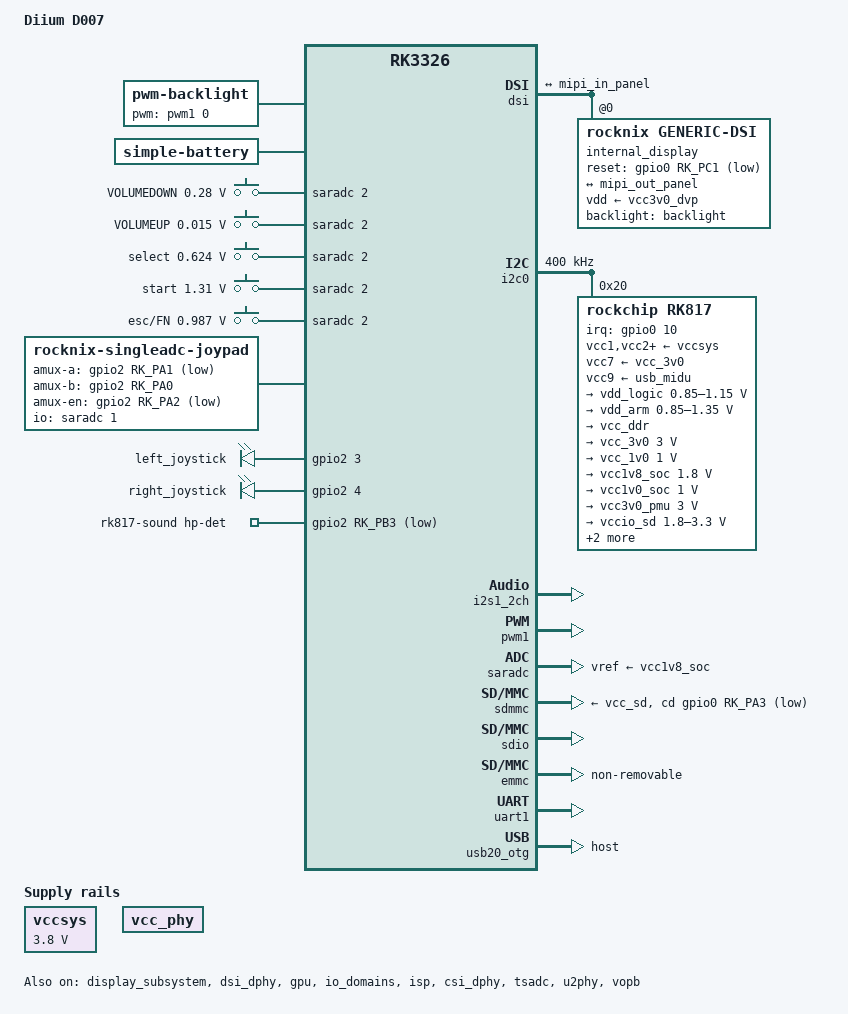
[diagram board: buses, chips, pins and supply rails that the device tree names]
// SPDX-License-Identifier: (GPL-2.0+ OR MIT)
/*
 * Copyright (c) 2019 Hardkernel Co., Ltd
 * Copyright (c) 2020 Theobroma Systems Design und Consulting GmbH
 * Copyright (c) 2022 Maya Matuszczyk <maccraft123mc@gmail.com>
 */

/dts-v1/;
#include <dt-bindings/gpio/gpio.h>
#include <dt-bindings/input/input.h>
#include <dt-bindings/leds/common.h>
#include <dt-bindings/pinctrl/rockchip.h>
#include "rk3326.dtsi"

/ {
    model = "Diium D007";
    compatible = "diium,d007", "rockchip,rk3326";
     
    aliases {
        mmc0 = &sdmmc;
		mmc1 = &emmc;
		mmc2 = &sdio;
    };

	chosen {
		systemd.debug_shell = "ttyS0";
	};

    backlight: backlight {
       compatible = "pwm-backlight";
       pwms = <&pwm1 0 25000 0>;
       brightness-levels = <
         0   1   2   3   4   5   6   7
         8   9  10  11  12  13  14  15
        16  17  18  19  20  21  22  23
        24  25  26  27  28  29  30  31
        32  33  34  35  36  37  38  39
        40  41  42  43  44  45  46  47
        48  49  50  51  52  53  54  55
        56  57  58  59  60  61  62  63
        64  65  66  67  68  69  70  71
        72  73  74  75  76  77  78  79
        80  81  82  83  84  85  86  87
        88  89  90  91  92  93  94  95
        96  97  98  99 100 101 102 103
       104 105 106 107 108 109 110 111
       112 113 114 115 116 117 118 119
       120 121 122 123 124 125 126 127
       128 129 130 131 132 133 134 135
       136 137 138 139 140 141 142 143
       144 145 146 147 148 149 150 151
       152 153 154 155 156 157 158 159
       160 161 162 163 164 165 166 167
       168 169 170 171 172 173 174 175
       176 177 178 179 180 181 182 183
       184 185 186 187 188 189 190 191
       192 193 194 195 196 197 198 199
       200 201 202 203 204 205 206 207
       208 209 210 211 212 213 214 215
       216 217 218 219 220 221 222 223
       224 225 226 227 228 229 230 231
       232 233 234 235 236 237 238 239
       240 241 242 243 244 245 246 247
       248 249 250 251 252 253 254 255>;
       default-brightness-level = <128>;
    };

    battery: battery {
        compatible = "simple-battery";
        charge-full-design-microamp-hours = <3000000>;
        charge-term-current-microamp = <200000>;
        constant-charge-current-max-microamp = <1500000>;
        constant-charge-voltage-max-microvolt = <4200000>;
        factory-internal-resistance-micro-ohms = <100000>;
        voltage-max-design-microvolt = <4100000>;
        voltage-min-design-microvolt = <3300000>;

        ocv-capacity-celsius = <20>;
        ocv-capacity-table-0 =  
            <4046950 100>, <4001920 95>, <3967900 90>, <3940000 85>,
            <3910000 80>, <3870000 75>, <3830000 70>, <3790000 65>,
            <3750000 60>, <3720000 55>, <3690000 50>, <3650000 45>,
            <3610000 40>, <3570000 35>, <3540000 30>, <3500000 25>,
            <3460000 20>, <3420000 15>, <3380000 10>, <3340000 5>,
            <3300000 0>;
    };

	adc_keys: adc-keys {
		compatible = "adc-keys";
		io-channels = <&saradc 2>;
		io-channel-names = "buttons";
		keyup-threshold-microvolt = <1800000>;
		poll-interval = <60>;

		vol-down-key {
		           label = "VOLUMEDOWN";
		           linux,code = <KEY_VOLUMEDOWN>;
			press-threshold-microvolt = <280000>;
		};

		vol-up-key {
		           label = "VOLUMEUP";
		           linux,code = <KEY_VOLUMEUP>;
			press-threshold-microvolt = <15000>;
		};
		select-key {
		           label = "select";
		           linux,code = <KEY_RIGHTSHIFT>;
			press-threshold-microvolt = <624000>;
		};

		start-key {
		           label = "start";
		           linux,code = <KEY_ENTER>;
			press-threshold-microvolt = <1310000>;//<987000>;
		};

		fn-key {
		           label = "esc/FN";
		           linux,code = <KEY_ESC>;
			press-threshold-microvolt = <987000>;//<1310000>;
		};
	};

	joypad: rocknix-singleadc-joypad {
		compatible = "rocknix-singleadc-joypad";

		joypad-name = "retrogame_joypad";
		joypad-product = <0x1101>;
		joypad-revision = <0x0100>;
		joypad-vendor = <0x484B>;

		status = "okay";

		/* gpio pincontrol setup */
                pinctrl-names = "default";
                pinctrl-0 = <&btn_pins_ctrl>;

		/* Analog mux define */
		io-channel-names = "amux_adc";
		io-channels = <&saradc 1>;

		/* adc mux channel count */
		amux-count = <4>;
		amux-channel-mapping = <0 1 2 3>;
		/* adc mux select(a,b) gpio */
		amux-a-gpios = <&gpio2 RK_PA1 GPIO_ACTIVE_LOW>;
		amux-b-gpios = <&gpio2 RK_PA0 GPIO_ACTIVE_HIGH>;
		/* adc mux enable gpio */
		amux-en-gpios = <&gpio2 RK_PA2 GPIO_ACTIVE_LOW>;

		/* adc calculate scale */
		button-adc-scale = <2>;

		/* adc deadzone range  */
		button-adc-deadzone = <64>;

		/*
		  specifies fuzz value that is used to filter noise from
		  the event stream.
		*/
		button-adc-fuzz = <32>;
		button-adc-flat = <32>;

		/*
		  Analog Stick data tuning value(precent)
		  p = positive direction, n = negative direction
		  report value = (real_adc_data * tuning_value) / 100
		*/
		abs_x-p-tuning = <200>;
		abs_x-n-tuning = <800>;

		abs_y-p-tuning = <200>;
		abs_y-n-tuning = <800>;

		abs_rx-p-tuning = <800>;
		abs_rx-n-tuning = <1000>;

		abs_ry-p-tuning = <800>;
		abs_ry-n-tuning = <1400>;

		/* poll device interval (ms), adc read interval */
		poll-interval = <10>;
      
        /* gpio button auto repeat set value : default disable */
        /*
        autorepeat;
        */

		sw1 {
			gpios = <&gpio3 RK_PD1 GPIO_ACTIVE_LOW>;
			label = "GPIO DPAD-UP";
			linux,code = <BTN_DPAD_UP>;
		};
		sw2 {
			gpios = <&gpio3 RK_PD2 GPIO_ACTIVE_LOW>;
			label = "GPIO DPAD-DOWN";
			linux,code = <BTN_DPAD_DOWN>;
		};
		sw3 {
			gpios = <&gpio3 RK_PB5 GPIO_ACTIVE_LOW>;
			label = "GPIO DPAD-LEFT";
			linux,code = <BTN_DPAD_LEFT>;
		};
		sw4 {
			gpios = <&gpio3 RK_PD0 GPIO_ACTIVE_LOW>;
			label = "GPIO DPAD-RIGHT";
			linux,code = <BTN_DPAD_RIGHT>;
		};
		sw5 {
			gpios = <&gpio3 RK_PC4 GPIO_ACTIVE_LOW>;
			label = "GPIO BTN-A";
			linux,code = <BTN_EAST>;
		};
		sw6 {
			gpios = <&gpio3 RK_PC5 GPIO_ACTIVE_LOW> ;
			label = "GPIO BTN-B";
			linux,code = <BTN_SOUTH>;
		};
		sw7 {
			gpios = <&gpio3 RK_PB3 GPIO_ACTIVE_LOW>;
			label = "GPIO BTN-Y";
			linux,code = <BTN_WEST>;
		};
		sw8 {
			gpios = <&gpio3 RK_PB2 GPIO_ACTIVE_LOW>;
			label = "GPIO BTN-X";
			linux,code = <BTN_NORTH>;
		};
		sw9 {
			gpios = <&gpio3 RK_PB4 GPIO_ACTIVE_LOW>;
			label = "GPIO F2";
			linux,code = <BTN_MODE>;//<BTN_TRIGGER_HAPPY2>;
		};
		sw10 {
			gpios = <&gpio0 RK_PC2 GPIO_ACTIVE_LOW>;
			label = "GPIO F4";
			linux,code = <BTN_SELECT>;//<BTN_TRIGGER_HAPPY4>;
		};
		/* this sw11 entry is SPECIAL, most RK3566 devices do not have
		   this physical button but for the sake of keeping compatibility
		   with ES and retroarch, this phantom button and offset will
		   allow existing userspace programs to work without doing any
		   new remapping thus saving lots of headaches and extra work */
		sw11 {
			gpios = <&gpio3 RK_PA7 GPIO_ACTIVE_LOW>;
			label = "GPIO BTN_F3";
			linux,code = <BTN_START>;//<BTN_TRIGGER_HAPPY1>;
		};
		sw12 {
			gpios = <&gpio2 RK_PB1 GPIO_ACTIVE_LOW>;
			label = "BTN_THUMBL";
			linux,code = <BTN_THUMBL>;
		};
		sw13 {
			gpios = <&gpio2 RK_PB2 GPIO_ACTIVE_LOW>;
			label = "BTN_THUMBR";
			linux,code = <BTN_THUMBR>;
		};
		sw14 {
			gpios = <&gpio3 RK_PC1 GPIO_ACTIVE_LOW>;
			label = "GPIO BTN_TR";
			linux,code = <BTN_TR>;
		};
		sw15 {
			gpios = <&gpio3 RK_PC0 GPIO_ACTIVE_LOW>;
			label = "GPIO BTN_TR2";
			linux,code = <BTN_TR2>;
		};
		sw16 {
			gpios = <&gpio3 RK_PC3 GPIO_ACTIVE_LOW>;
			label = "GPIO BTN_TL";
			linux,code = <BTN_TL>;
		};
		sw17 {
			gpios = <&gpio3 RK_PC2 GPIO_ACTIVE_LOW>;
			label = "GPIO BTN_TL2";
			linux,code = <BTN_TL2>;
		};
	};


    leds: gpio-leds {
         compatible = "gpio-leds";
         pinctrl-0 = <&led_pins>;
         pinctrl-names = "default";

		left_joystick {
			default-state = "off";
			gpios = <&gpio2 3 GPIO_ACTIVE_HIGH>;
		};

		right_joystick  {
			default-state = "off";
			gpios = <&gpio2 4 GPIO_ACTIVE_HIGH>;
		};
    };


    rk817-sound {
       compatible = "simple-audio-card";
       pinctrl-names = "default";
       pinctrl-0 = <&hp_det>;
       simple-audio-card,name = "rk817_int";
       simple-audio-card,format = "i2s";
       simple-audio-card,hp-det-gpio = <&gpio2 RK_PB3 GPIO_ACTIVE_LOW>;
       simple-audio-card,mclk-fs = <256>;
       simple-audio-card,widgets =
           "Microphone", "Mic Jack",
           "Headphone", "Headphones",
           "Speaker", "Speaker";
       simple-audio-card,routing =
           "MICL", "Mic Jack",
           "Headphones", "HPOL",
           "Headphones", "HPOR",
           "Speaker", "SPKO";

       simple-audio-card,codec {
           sound-dai = <&rk817>;
       };

       simple-audio-card,cpu {
           sound-dai = <&i2s1_2ch>;
       };
    };

    vccsys: vccsys {
       compatible = "regulator-fixed";
       regulator-name = "vcc3v8_sys";
       regulator-always-on;
       regulator-min-microvolt = <3800000>;
       regulator-max-microvolt = <3800000>;
    };

	vcc-phy-regulator {
		compatible = "regulator-fixed";
		regulator-name = "vcc_phy";
		regulator-always-on;
		regulator-boot-on;
	};

    
    // vcc_host: vcc_host {
    //     compatible = "regulator-fixed";
    //     regulator-name = "vcc_host";
    //     regulator-min-microvolt = <5000000>;
    //     regulator-max-microvolt = <5000000>;
    //     gpio = <&gpio3 RK_PA4 GPIO_ACTIVE_HIGH>;
	// pinctrl-0 = <&vcc5_usb>;
	// pinctrl-names = "default";
    //     enable-active-high;
    //     regulator-always-on;
    //     regulator-boot-on;
    //     vin-supply = <&usb_midu>;
    // };
};

&dmc {
    center-supply = <&vdd_logic>;
};

&cpu0 {
    cpu-supply = <&vdd_arm>;
};

&cpu1 {
    cpu-supply = <&vdd_arm>;
};

&cpu2 {
    cpu-supply = <&vdd_arm>;
};

&cpu3 {
    cpu-supply = <&vdd_arm>;
};

&cru {
    assigned-clocks = <&cru PLL_NPLL>,
        <&cru ACLK_BUS_PRE>, <&cru ACLK_PERI_PRE>,
        <&cru HCLK_BUS_PRE>, <&cru HCLK_PERI_PRE>,
        <&cru PCLK_BUS_PRE>, <&cru SCLK_GPU>;

    assigned-clock-rates = <1188000000>,
        <200000000>, <200000000>,
        <150000000>, <150000000>,
        <100000000>, <200000000>;
};

&display_subsystem {
    status = "okay";
};

&dsi {
    status = "okay";

    ports {
        mipi_out: port@1 {
          reg = <1>;

          mipi_out_panel: endpoint {
              remote-endpoint = <&mipi_in_panel>;
          };
        };
    };

    internal_display: panel@0 {
	compatible = "rocknix,generic-dsi";
        vdd-supply = <&vcc3v0_dvp>;
        reg = <0>;
        backlight = <&backlight>;
        reset-gpios = <&gpio0 RK_PC1 GPIO_ACTIVE_LOW>;
        pinctrl-names = "default";
        pinctrl-0 = <&lcd_rst>;
        panel_description = "G size=64,48 delays=120,200,20,20,20 format=rgb888 lanes=4 flags=0xe03\0M clock=33000 horizontal=640,120,2,120 vertical=480,18,2,20 default=1\0M clock=23800 horizontal=640,120,4,120 vertical=480,18,21,20\0M clock=23010 horizontal=640,120,5,120 vertical=480,18,2,20\0M clock=28580 horizontal=640,120,13,120 vertical=480,18,122,20\0M clock=26910 horizontal=640,120,20,120 vertical=480,18,2,20\0M clock=34070 horizontal=640,120,24,120 vertical=480,18,113,20\0M clock=33000 horizontal=640,120,30,120 vertical=480,18,87,20\0M clock=33120 horizontal=640,120,40,120 vertical=480,18,82,20\0M clock=34170 horizontal=640,120,46,120 vertical=480,18,96,20\0M clock=40240 horizontal=640,120,33,120 vertical=480,18,66,20\0M clock=42120 horizontal=640,120,20,120 vertical=480,18,2,20\0M clock=56070 horizontal=640,120,10,120 vertical=480,18,7,20\0I seq=ff30\0I seq=ff52\0I seq=ff01\0I seq=e300\0I seq=2412\0I seq=2514\0I seq=2678\0I seq=2778\0I seq=286f\0I seq=2901\0I seq=2adf\0I seq=379c\0I seq=38a7\0I seq=3951\0I seq=4400\0I seq=493c\0I seq=59fe\0I seq=5c00\0I seq=8020\0I seq=9177\0I seq=9277\0I seq=a055\0I seq=a150\0I seq=a358\0I seq=a49c\0I seq=a702\0I seq=a801\0I seq=a921\0I seq=aafc\0I seq=ab28\0I seq=ac06\0I seq=ad06\0I seq=ae06\0I seq=af03\0I seq=b008\0I seq=b126\0I seq=b228\0I seq=b328\0I seq=b403\0I seq=b508\0I seq=b626\0I seq=b708\0I seq=b826\0I seq=ff30\0I seq=ff52\0I seq=ff02\0I seq=b00b\0I seq=b116\0I seq=b217\0I seq=b32c\0I seq=b432\0I seq=b53b\0I seq=b629\0I seq=b740\0I seq=b80d\0I seq=b905\0I seq=ba12\0I seq=bb10\0I seq=bc12\0I seq=bd15\0I seq=be19\0I seq=bf0e\0I seq=c016\0I seq=c10a\0I seq=d00c\0I seq=d117\0I seq=d214\0I seq=d32e\0I seq=d432\0I seq=d53c\0I seq=d622\0I seq=d73d\0I seq=d80d\0I seq=d907\0I seq=da13\0I seq=db13\0I seq=dc11\0I seq=dd15\0I seq=de19\0I seq=df10\0I seq=e017\0I seq=e10a\0I seq=ff30\0I seq=ff52\0I seq=ff03\0I seq=ff30\0I seq=ff52\0I seq=ff03\0I seq=0000\0I seq=0100\0I seq=0200\0I seq=0300\0I seq=0461\0I seq=0580\0I seq=06c7\0I seq=0701\0I seq=0882\0I seq=0983\0I seq=3000\0I seq=3100\0I seq=3200\0I seq=3300\0I seq=3461\0I seq=35c5\0I seq=3680\0I seq=3723\0I seq=4082\0I seq=4183\0I seq=4280\0I seq=4381\0I seq=4411\0I seq=45e2\0I seq=46e1\0I seq=4711\0I seq=48e4\0I seq=49e3\0I seq=5002\0I seq=5101\0I seq=5204\0I seq=5303\0I seq=5411\0I seq=55e6\0I seq=56e5\0I seq=5711\0I seq=58e8\0I seq=59e7\0I seq=7e08\0I seq=810f\0I seq=840c\0I seq=850d\0I seq=8607\0I seq=8704\0I seq=8805\0I seq=8906\0I seq=8a00\0I seq=970f\0I seq=9a0c\0I seq=9b0d\0I seq=9c07\0I seq=9d04\0I seq=9e05\0I seq=9f06\0I seq=a000\0I seq=e002\0I seq=e152\0I seq=ff30\0I seq=ff52\0I seq=ff00\0I seq=3602\0I seq=11 wait=200\0I seq=29 wait=100";
        port {
            mipi_in_panel: endpoint {
                remote-endpoint = <&mipi_out_panel>;
            };
        };
    };
};

&dsi_dphy {
    status = "okay";
};

&gpu {
    mali-supply = <&vdd_logic>;
    status = "okay";
};

&i2c0 {
    clock-frequency = <400000>;
    i2c-scl-falling-time-ns = <16>;
    i2c-scl-rising-time-ns = <280>;
    status = "okay";

    rk817: pmic@20 {
        compatible = "rockchip,rk817";
        reg = <0x20>;
        interrupt-parent = <&gpio0>;
        interrupts = <10 IRQ_TYPE_LEVEL_LOW>;
        clock-output-names = "rk808-clkout1", "xin32k";
        clock-names = "mclk";
        clocks = <&cru SCLK_I2S1_OUT>;
        pinctrl-names = "default";
        pinctrl-0 = <&pmic_int>, <&i2s1_2ch_mclk>;
        rockchip,system-power-controller;
        wakeup-source;
        #clock-cells = <1>;
        #sound-dai-cells = <0>;

        vcc1-supply = <&vccsys>;
        vcc2-supply = <&vccsys>;
        vcc3-supply = <&vccsys>;
        vcc4-supply = <&vccsys>;
        vcc5-supply = <&vccsys>;
        vcc6-supply = <&vccsys>;
        vcc7-supply = <&vcc_3v0>;
        vcc8-supply = <&vccsys>;
	    vcc9-supply = <&usb_midu>;

    regulators {
        vdd_logic: DCDC_REG1 {
              regulator-name = "vdd_logic";
              regulator-min-microvolt = <850000>;
              regulator-max-microvolt = <1150000>;
              regulator-ramp-delay = <6001>;
              regulator-always-on;
              regulator-boot-on;

              regulator-state-mem {
                  regulator-on-in-suspend;
                  regulator-suspend-microvolt = <950000>;
              };
        };

        vdd_arm: DCDC_REG2 {
              regulator-name = "vdd_arm";
              regulator-min-microvolt = <850000>;
              regulator-max-microvolt = <1350000>;
              regulator-ramp-delay = <6001>;
              regulator-always-on;
              regulator-boot-on;

              regulator-state-mem {
                  regulator-on-in-suspend;
                  regulator-suspend-microvolt = <950000>;
              };
        };

        vcc_ddr: DCDC_REG3 {
              regulator-name = "vcc_ddr";
              regulator-always-on;
              regulator-boot-on;

              regulator-state-mem {
                  regulator-on-in-suspend;
              };
        };

        vcc_3v0: DCDC_REG4 {
              regulator-name = "vcc_3v0";
              regulator-min-microvolt = <3000000>;
              regulator-max-microvolt = <3000000>;
              regulator-always-on;
              regulator-boot-on;

              regulator-state-mem {
                  regulator-on-in-suspend;
                  regulator-suspend-microvolt = <3000000>;
              };
        };

        vcc_1v0: LDO_REG1 {
              regulator-name = "vcc_1v0";
              regulator-always-on;
              regulator-boot-on;
              regulator-min-microvolt = <1000000>;
              regulator-max-microvolt = <1000000>;

              regulator-state-mem {
                  regulator-on-in-suspend;
                  regulator-suspend-microvolt = <1000000>;
              };
        };

        vcc1v8_soc: LDO_REG2 {
              regulator-name = "vcc1v8_soc";
              regulator-min-microvolt = <1800000>;
              regulator-max-microvolt = <1800000>;
              regulator-always-on;
              regulator-boot-on;

              regulator-state-mem {
                  regulator-on-in-suspend;
                  regulator-suspend-microvolt = <1800000>;
              };
        };

        vcc1v0_soc: LDO_REG3 {
              regulator-name = "vcc1v0_soc";
              regulator-min-microvolt = <1000000>;
              regulator-max-microvolt = <1000000>;
              regulator-always-on;
              regulator-boot-on;

              regulator-state-mem {
                  regulator-on-in-suspend;
                  regulator-suspend-microvolt = <1000000>;
              };
        };

        vcc3v0_pmu: LDO_REG4 {
              regulator-name = "vcc3v0_pmu";
              regulator-min-microvolt = <3000000>;
              regulator-max-microvolt = <3000000>;
              regulator-always-on;
              regulator-boot-on;

              regulator-state-mem {
                  regulator-on-in-suspend;
                  regulator-suspend-microvolt = <3000000>;
              };
        };

        vccio_sd: LDO_REG5 {
              regulator-name = "vccio_sd";
              regulator-min-microvolt = <1800000>;
              regulator-max-microvolt = <3300000>;
              regulator-always-on;
              regulator-boot-on;

              regulator-state-mem {
                  regulator-on-in-suspend;
                  regulator-suspend-microvolt = <3300000>;
              };
        };

        vcc_sd: LDO_REG6 {
              regulator-name = "vcc_sd";
              regulator-min-microvolt = <2800000>;
              regulator-max-microvolt = <3000000>;
              regulator-always-on;
              regulator-boot-on;

              regulator-state-mem {
                  regulator-on-in-suspend;
                  regulator-suspend-microvolt = <3000000>;
              };
        };

        vcc2v8_dvp: LDO_REG7 {
              regulator-name = "vcc2v8_dvp";
              regulator-min-microvolt = <2800000>;
              regulator-max-microvolt = <2800000>;

              regulator-state-mem {
              regulator-on-in-suspend;
                  regulator-suspend-microvolt = <2800000>;
              };
        };

        vcc3v0_dvp: LDO_REG8 {
              regulator-name = "vcc3v0_dvp";
              regulator-min-microvolt = <1800000>;
              regulator-max-microvolt = <1800000>;
              regulator-always-on;
              regulator-boot-on;

              regulator-state-mem {
                  regulator-on-in-suspend;
                  regulator-suspend-microvolt = <1800000>;
              };
        };

        vdd1v5_dvp: LDO_REG9 {
              regulator-min-microvolt = <1500000>;
              regulator-max-microvolt = <1500000>;
              regulator-name = "vdd1v5_dvp";

              regulator-state-mem {
                  regulator-on-in-suspend;
                  regulator-suspend-microvolt = <1500000>;
              };
        };

        usb_midu: BOOST {
              regulator-name = "usb_midu";
              regulator-min-microvolt = <4700000>;
              regulator-max-microvolt = <5400000>;
              regulator-always-on;
              regulator-boot-on;
        };

    };

    rk817_charger: charger {
         monitored-battery = <&battery>;
         rockchip,resistor-sense-micro-ohms = <10000>;
         rockchip,sleep-enter-current-microamp = <300000>;
         rockchip,sleep-filter-current-microamp = <100000>;
    };

    rk817_codec: codec {
         //rockchip,mic-in-differential;
    };
  };
};

/* I2S 1 Channel Used Header(P2):1(GPIO2.C3),2(.C2), 3(.C1), 4(.C5), 5(.C4) */
&i2s1_2ch {
    status = "okay";
    #sound-dai-cells = <0>;
};

&io_domains {
    vccio1-supply = <&vcc_3v0>;
    vccio2-supply = <&vccio_sd>;
    vccio3-supply = <&vcc_3v0>;
    vccio4-supply = <&vcc_3v0>;
    vccio5-supply = <&vcc_3v0>;
    vccio6-supply = <&vcc_3v0>;
    status = "okay";
};

&isp {
    status = "okay";
};

&isp_mmu {
    status = "okay";
};

&pmu_io_domains {
    pmuio1-supply = <&vcc3v0_pmu>;
    pmuio2-supply = <&vcc3v0_pmu>;
    status = "okay";
};

&csi_dphy {
    status = "okay";
};

&pwm1 {
    status = "okay";
};

&saradc {
    vref-supply = <&vcc1v8_soc>;
    status = "okay";
};

&sdmmc {
    cap-sd-highspeed;
    card-detect-delay = <200>;
    cd-gpios = <&gpio0 RK_PA3 GPIO_ACTIVE_LOW>; /*[> ff370000 PD_SDCARD CD GPIO <]*/
    sd-uhs-sdr12;
    sd-uhs-sdr25;
    sd-uhs-sdr50;
    sd-uhs-sdr104;
    vmmc-supply = <&vcc_sd>;
    vqmmc-supply = <&vccio_sd>;
    status = "okay";
};

&sdio {
    status = "okay";
};

&emmc {
   		no-sdio;
		no-sd;
		disable-wp;
		non-removable;
		num-slots = <0x01>; 
    status = "okay";
};

&tsadc {
    status = "okay";
};

&u2phy {
    status = "okay";

    u2phy_host: host-port {
        status = "okay";
    };

    u2phy_otg: otg-port {
        status = "disabled";
    };
};

/* FIQ Header(P2): 2(RXD:GPIO2.B4),3(TXD:.B6) */
&uart2 {
    status = "disabled";
};

&uart1 {
    status = "okay";
};

&usb20_otg {
    status = "okay";
    dr_mode = "host";
};

&vopb {
    status = "okay";
};

&vopb_mmu {
    status = "okay";
};

&pwm0 {
	status = "disabled";
};

&pinctrl {
      btns {
	btn_pins_ctrl: btn-pins-ctrl {
		rockchip,pins =
			<3 RK_PC0 RK_FUNC_GPIO &pcfg_pull_up>,
			<3 RK_PC1 RK_FUNC_GPIO &pcfg_pull_up>,
			<3 RK_PC2 RK_FUNC_GPIO &pcfg_pull_up>,
			<3 RK_PC3 RK_FUNC_GPIO &pcfg_pull_up>,
			<3 RK_PC4 RK_FUNC_GPIO &pcfg_pull_up>,
			<3 RK_PC5 RK_FUNC_GPIO &pcfg_pull_up>,
			<3 RK_PD0 RK_FUNC_GPIO &pcfg_pull_up>,
			<3 RK_PD1 RK_FUNC_GPIO &pcfg_pull_up>,
			<3 RK_PD2 RK_FUNC_GPIO &pcfg_pull_up>,
			<3 RK_PB2 RK_FUNC_GPIO &pcfg_pull_up>,
			<3 RK_PB3 RK_FUNC_GPIO &pcfg_pull_up>,
			<3 RK_PB4 RK_FUNC_GPIO &pcfg_pull_up>,
			<3 RK_PB5 RK_FUNC_GPIO &pcfg_pull_up>,
			<3 RK_PA7 RK_FUNC_GPIO &pcfg_pull_up>,
			<2 RK_PB1 RK_FUNC_GPIO &pcfg_pull_up>,
			<2 RK_PB2 RK_FUNC_GPIO &pcfg_pull_up>,
			<0 RK_PC2 RK_FUNC_GPIO &pcfg_pull_up>;
	};

		btn_pins_vol: btn-pins-vol {
			rockchip,pins = <3 RK_PD2 RK_FUNC_GPIO &pcfg_pull_up>,
					<3 RK_PD3 RK_FUNC_GPIO &pcfg_pull_up>;
		};
      };

    headphone {
        hp_det: hp-det {
            rockchip,pins = <2 RK_PB3 RK_FUNC_GPIO &pcfg_pull_up>;
        };
    };

    gpio-lcd {
        lcd_rst: lcd-rst {
            rockchip,pins = <0 RK_PC1 RK_FUNC_GPIO &pcfg_pull_none>;
        };
    };


    // vcc5-usb {
    //     vcc5_usb: vcc5-usb {
    //         rockchip,pins = <3 RK_PA4 RK_FUNC_GPIO &pcfg_pull_none>;
    //     };
    // };

    gpio-led {
		led_pins: led-pins {
			rockchip,pins = <0 RK_PC1 RK_FUNC_GPIO &pcfg_pull_none>;
		};
    };

    pmic {
        pmic_int: pmic-int {
            rockchip,pins = <0 RK_PB2 RK_FUNC_GPIO &pcfg_pull_up>;
        };

        soc_slppin_gpio: soc_slppin_gpio {
            rockchip,pins = <0 RK_PA4 RK_FUNC_GPIO &pcfg_output_low>;
        };

        soc_slppin_rst: soc_slppin_rst {
            rockchip,pins = <0 RK_PA4 2 &pcfg_pull_none>;
        };

        soc_slppin_slp: soc_slppin_slp {
            rockchip,pins = <0 RK_PA4 1 &pcfg_pull_none>;
        };
   };
};
